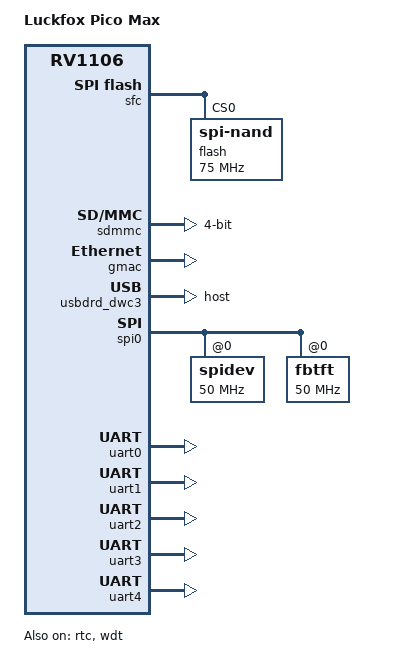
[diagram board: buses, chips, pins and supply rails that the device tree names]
// SPDX-License-Identifier: (GPL-2.0+ OR MIT)
/*
 * Copyright (c) 2022 Rockchip Electronics Co., Ltd.
 */

/dts-v1/;

#include "rv1106.dtsi"
#include "rv1106-evb.dtsi"
#include "rv1106-luckfox-pico-pro-max-ipc.dtsi"

/ {
	model = "Luckfox Pico Max";
	compatible = "rockchip,rv1103g-38x38-ipc-v10", "rockchip,rv1106";
	chosen {
		stdout-path = &uart5;
	/*	u-boot,spl-boot-order = &spi_nor, &emmc;*/
	};
};

/**********FLASH**********/
&sfc {
	status = "okay";
	flash@0 {
		compatible = "spi-nand";
		reg = <0>;
		spi-max-frequency = <75000000>;
		spi-rx-bus-width = <4>;
		spi-tx-bus-width = <1>;
	};
	
};

/**********SDMMC**********/
&sdmmc {
	max-frequency = <50000000>;
	no-sdio;
	no-mmc;
	bus-width = <4>;
	cap-mmc-highspeed;
	cap-sd-highspeed;
	disable-wp;
	pinctrl-names = "default";
	pinctrl-0 = <&sdmmc0_clk &sdmmc0_cmd &sdmmc0_det &sdmmc0_bus4>;
	status = "okay";
};

/**********ETH**********/
&gmac {
	status = "okay";
};

/**********USB**********/
&usbdrd_dwc3 {
	status = "okay";
	dr_mode = "host";
//	dr_mode = "peripheral";
};

/**********SPI**********/
&spi0 {
	status = "okay";
	spidev@0 {
		spi-max-frequency = <50000000>;
	};
  fbtft@0 {
		spi-max-frequency = <50000000>;
  };
};

/**********I2S**********/
/* I2S0_8CH */
&i2s0_8ch {
	status = "disabled";  /* Uždisablinta, kad veiktu UART0_M1	rts*/
};

/**********I2C**********/
/* I2C3_M1 */
&i2c3 {
	status = "disabled";
	clock-frequency = <100000>;
};

/* I2C1_M1 */
&i2c1 {
	status = "disabled";
	clock-frequency = <100000>;
};

&i2c4 {
	status = "disabled";
	pinctrl-0 = <&i2c4m2_xfer>;
};


/**********UART**********/
/* UART0_M1 */
// &uart0 {
// 	status = "okay";
// 	pinctrl-0 = <&uart0m1_xfer &uart0m1_rtsn>;
// };

/* UART0_M1 - RS485 */
&uart0 {
    status = "okay";
   // pinctrl-names = "default";
    pinctrl-0 = <&uart0m1_xfer>;   /* Naudoti hardware RTS */
    
    /* RS485 konfigūracija */
    //  linux,rs485-enabled-at-boot-time;
    //  rs485-rts-active-high;  /* arba rs485-rts-active-low, priklausomai nuo MAX485 logikos */
    //  rs485-rts-delay = <0 1>;
  //  rts-gpios = <&gpio2 RK_PA6 GPIO_ACTIVE_HIGH>;  /* GPIO2_A6 */
};



/* UART1_M1 */
&uart1 {
	status = "okay";
	pinctrl-0 = <&uart1m1_xfer &uart1m1_ctsn &uart1m1_rtsn>;
};

/* UART2_M1 */
&uart2 {
	status = "okay";
};

/* UART3_M1 */
&uart3 {
	status = "okay";
};

/* UART4_M1 */
&uart4 {
	status = "okay";
};

/* UART5_M2 */
&uart5 {
	status = "disabled";	 /* Uždisablinta, kad galimėtu naudoti consolei*/
    pinctrl-0 = <&uart5m2_xfer>;
};

/**********RTC**********/
&rtc {
	status = "okay";
};

/**********WDT**********/
&wdt {
    status = "okay";
};


// &pinctrl {
//     uart0 {
//         uart0_rs485_gpio: uart0-rs485-gpio {
//             rockchip,pins = <2 RK_PA6 RK_FUNC_GPIO &pcfg_pull_none>;
//         };
//     };
// };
